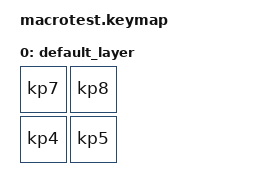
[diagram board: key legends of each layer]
#include <behaviors.dtsi>
#include <dt-bindings/zmk/keys.h>
#include <dt-bindings/zmk/bt.h>

/ {  
    keymap {
        compatible = "zmk,keymap";

        default_layer {
            bindings = <
                &kp KP_N7     &kp KP_N8
                &kp KP_N4     &kp KP_N5
            >;
        }; 
    };
};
